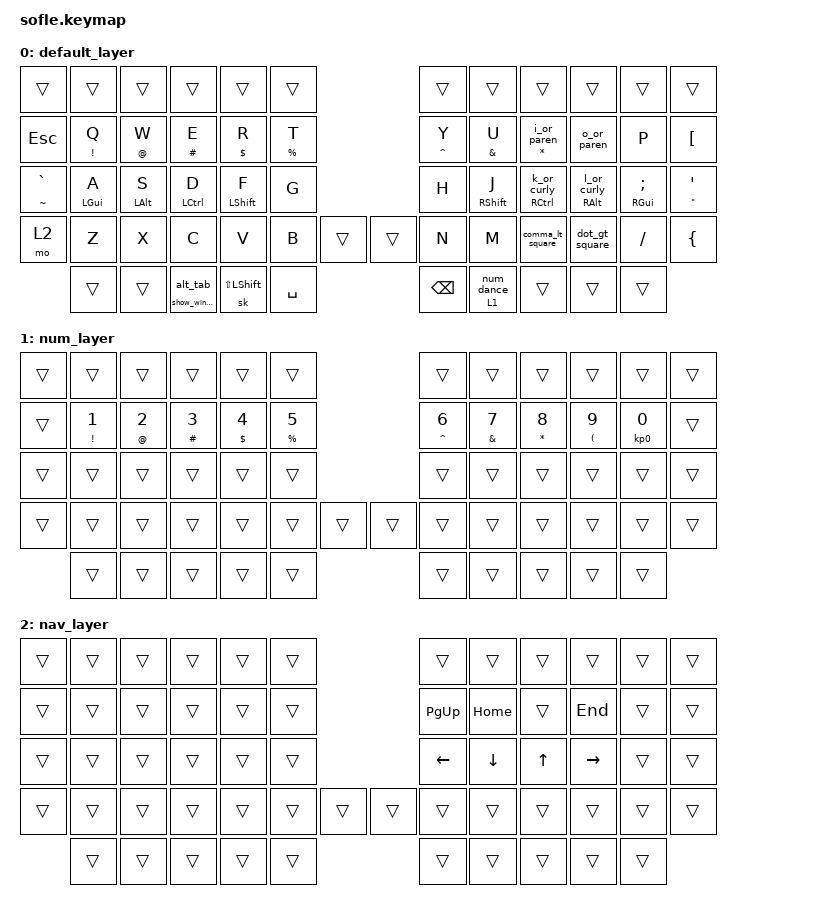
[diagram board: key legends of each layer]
#include <behaviors.dtsi>
#include <dt-bindings/zmk/keys.h>

&mt {
    require-prior-idle-ms = <350>;
    flavor = "tap-preferred";
};

/ {
    combos {
        compatible = "zmk,combos";

        combo_under {
            timeout-ms = <65>;
            bindings = <&mt UNDER KP_MINUS>;
            key-positions = <15 16>;
            require-prior-idle-ms = <300>;
        };

        compatible = "zmk,combos";

        combo_equals {
            timeout-ms = <65>;
            bindings = <&mt PLUS EQUAL>;
            key-positions = <19 20>;
            require-prior-idle-ms = <300>;
        };

        compatible = "zmk,combos";

        combo_tab {
            bindings = <&kp TAB>;
            key-positions = <39 40>;
            timeout-ms = <65>;
            require-prior-idle-ms = <300>;
        };

        combo_enter {
            bindings = <&kp RETURN>;
            key-positions = <45 46>;
            timeout-ms = <65>;
            require-prior-idle-ms = <300>;
        };

        slash_pipe {
            bindings = <&mt BACKSLASH KP_SLASH>;
            key-positions = <28 29>;
            timeout-ms = <65>;
            require-prior-idle-ms = <300>;
        };

        eng_lang {
            bindings = <&eng_lang>;
            key-positions = <>;
        };

        ru_lang {
            bindings = <&ru_lang>;
            key-positions = <>;
        };

        caps_word {
            bindings = <&caps_word>;
            key-positions = <40 41>;
        };

        switch_lang {
            bindings = <&kp LC(LEFT_SHIFT)>;
            key-positions = <28 27>;
        };

        ctrl+alt+del {
            bindings = <&kp LC(RA(DELETE))>;
            key-positions = <12 13>;
        };
    };

    behaviors {
        num_word: behavior_num_word {
            compatible = "zmk,behavior-caps-word";
            #binding-cells = <0>;
            layers = <1>;                                // insert location of numbers layer here
            continue-list = <BACKSPACE DELETE DOT COMMA LEFT_SHIFT RSHIFT EXCLAMATION AT_SIGN POUND PERCENT CARET AMPERSAND ASTERISK LEFT_PARENTHESIS RIGHT_PARENTHESIS KP_LEFT_PARENTHESIS KP_RIGHT_PARENTHESIS KP_EQUAL KP_MINUS EQUAL KP_EQUAL_AS400>;  // adjust as desired
            ignore-numbers;                                // numbers don't deactivate the layer
        };

        smart_num: smart_num {
            compatible = "zmk,behavior-hold-tap";
            #binding-cells = <2>;
            flavor = "balanced";
            tapping-term-ms = <200>;
            quick-tap-ms = <50>;
            bindings = <&mo>, <&num_dance>;
        };

        num_dance: num_dance {
            compatible = "zmk,behavior-tap-dance";
            #binding-cells = <0>;
            tapping-term-ms = <200>;
            bindings = <&num_word>, <&sl 3>;
        };

        hrm: hrm {
            compatible = "zmk,behavior-hold-tap";
            #binding-cells = <2>;
            flavor = "balanced";
            tapping-term-ms = <500>;
            quick-tap-ms = <125>;
            bindings = <&kp>, <&kp>;
        };

        hrr: hrr {
            compatible = "zmk,behavior-hold-tap";
            #binding-cells = <2>;
            flavor = "balanced";
            tapping-term-ms = <500>;
            quick-tap-ms = <125>;
            bindings = <&kp>, <&kp>;

            hold-trigger-key-positions = <0 1 5 12 13 14 15 16 17 24 25 26 27 28 29 36 37 38 39 40 41 42 50 51 52 53 54 2 3 4>;
            require-prior-idle-ms = <180>;
        };

        hrl: hrl {
            compatible = "zmk,behavior-hold-tap";
            #binding-cells = <2>;
            flavor = "balanced";
            tapping-term-ms = <500>;
            quick-tap-ms = <125>;
            bindings = <&kp>, <&kp>;

            hold-trigger-key-positions = <6 7 8 9 10 11 18 19 20 21 22 23 30 31 32 33 34 35 43 44 45 46 47 48 49 55 56 57 58 59>;
            require-prior-idle-ms = <180>;
        };

        smart_show_windows: smart_show_windows {
            compatible = "zmk,behavior-hold-tap";
            bindings = <&show_windows>, <&alt_tab>;

            #binding-cells = <2>;
            tapping-term-ms = <200>;
        };

        alt_tab: alt_tab {
            compatible = "zmk,behavior-tap-dance";
            label = "ALT_TAB";
            #binding-cells = <0>;
            bindings = <&kp LA(TAB)>;
        };

        ru_lang: ru_lang {
            compatible = "zmk,behavior-tap-dance";
            label = "RU_LANG";
            #binding-cells = <0>;
            bindings = <&kp LA(LS(N9))>;
            tapping-term-ms = <100>;
        };

        eng_lang: eng_lang {
            compatible = "zmk,behavior-tap-dance";
            label = "ENG_LANG";
            #binding-cells = <0>;
            tapping-term-ms = <100>;
            bindings = <&kp LS(LA(NUMBER_8))>;
        };

        i_or_paren: i_or_paren {
            compatible = "zmk,behavior-mod-morph";
            label = "I_OR_PAREN";
            bindings = <&kp I>, <&kp LEFT_PARENTHESIS>;

            #binding-cells = <0>;
            mods = <(MOD_LALT)>;
        };

        o_or_paren: o_or_paren {
            compatible = "zmk,behavior-mod-morph";
            label = "O_OR_PAREN";
            bindings = <&kp O>, <&kp RIGHT_PARENTHESIS>;

            #binding-cells = <0>;
            mods = <(MOD_LALT)>;
        };

        k_or_curly: k_or_curly {
            compatible = "zmk,behavior-mod-morph";
            label = "K_OR_CURLY";
            bindings = <&kp K>, <&kp LEFT_BRACE>;

            #binding-cells = <0>;
            mods = <(MOD_LALT)>;
        };

        l_or_curly: l_or_curly {
            compatible = "zmk,behavior-mod-morph";
            label = "L_OR_CURLY";
            bindings = <&kp L>, <&kp RIGHT_BRACE>;

            #binding-cells = <0>;
            mods = <(MOD_LALT)>;
        };

        comma_lt_square: comma_lt_square {
            compatible = "zmk,behavior-mod-morph";
            label = "COMMA_LT_SQUARE";
            bindings = <&kp COMMA>, <&kp LEFT_BRACKET>;

            #binding-cells = <0>;
            mods = <(MOD_LALT)>;
        };

        dot_gt_square: dot_gt_square {
            compatible = "zmk,behavior-mod-morph";
            label = "DOT_GT_SQUARE";
            bindings = <&kp DOT>, <&kp RIGHT_BRACKET>;

            #binding-cells = <0>;
            mods = <(MOD_LALT)>;
        };

        hrr_k: hrr_k {
            compatible = "zmk,behavior-hold-tap";
            #binding-cells = <2>;
            flavor = "balanced";
            tapping-term-ms = <280>;
            quick-tap-ms = <125>;
            bindings = <&kp>, <&k_or_curly>;

            hold-trigger-key-positions = <0 1 5 12 13 14 15 16 17 24 25 26 27 28 29 36 37 38 39 40 41 42 50 51 52 53 54 2 3 4>;
            require-prior-idle-ms = <350>;
            label = "HRR_K";
        };

        hrr_l: hrr_l {
            compatible = "zmk,behavior-hold-tap";
            #binding-cells = <2>;
            flavor = "balanced";
            tapping-term-ms = <280>;
            quick-tap-ms = <125>;
            bindings = <&kp>, <&l_or_curly>;

            hold-trigger-key-positions = <0 1 5 12 13 14 15 16 17 24 25 26 27 28 29 36 37 38 39 40 41 42 50 51 52 53 54 2 3 4>;
            require-prior-idle-ms = <350>;
            label = "HRR_L";
        };

        i_paren_asterisk: i_paren_asterisk {
            compatible = "zmk,behavior-hold-tap";
            label = "I_PAREN_ASTERISK";
            bindings = <&kp>, <&i_or_paren>;

            #binding-cells = <2>;
            tapping-term-ms = <200>;
        };
    };

    conditional_layers {
        compatible = "zmk,conditional-layers";

        tri_layer {
            if-layers = <2 1>;
            then-layer = <3>;
        };
    };

    macros {
        my_macro: new_macro {
            compatible = "zmk,behavior-macro";
            #binding-cells = <0>;
            bindings =
                <&macro_press>,
                <&kp Z>,
                <&macro_tap>,
                <&kp A>,
                <&macro_press>,
                <&kp Z>,
                <&macro_pause_for_release>,
                <&macro_release>,
                <&kp Z>;

            label = "NEW_MACRO";
        };

        show_windows: test_alt_tab {
            compatible = "zmk,behavior-macro";
            #binding-cells = <0>;
            bindings =
                <&macro_press>,
                <&kp LEFT_ALT &mo 2>,
                <&macro_tap>,
                <&kp TAB>,
                <&macro_pause_for_release>,
                <&macro_release>,
                <&kp LEFT_ALT &mo 2>;

            label = "TEST_ALT_TAB";
        };

        show_windows_and_stick_nav_l: show_windows_and_stick_nav_l {
            compatible = "zmk,behavior-macro";
            #binding-cells = <0>;
            bindings =
                <&macro_tap>,
                <&kp LA(TAB)>,
                <&macro_press>,
                <&kp LEFT_ALT &mo 2>,
                <&macro_pause_for_release>,
                <&macro_release>,
                <&kp LEFT_ALT &mo 2>;

            label = "SHOW_WINDOWS_AND_STICK_NAV_L";
        };
    };

    keymap {
        compatible = "zmk,keymap";

        layer_default_layer {
            label = "default_layer";
            bindings = <
&trans           &trans             &trans           &trans                   &trans             &trans                         &trans         &trans              &trans                     &trans              &trans               &trans
&kp ESCAPE       &mt EXCLAMATION Q  &mt AT_SIGN W    &mt HASH E               &mt DOLLAR R       &mt PERCENT T                  &mt CARET Y    &mt AMPERSAND U     &i_paren_asterisk ASTRK 0  &o_or_paren         &kp P                &kp LEFT_BRACKET
&mt TILDE GRAVE  &hrl LEFT_GUI A    &hrl LEFT_ALT S  &hrl LCTRL D             &hrl LEFT_SHIFT F  &kp G                          &kp H          &hrr RIGHT_SHIFT J  &hrr_k RCTRL 0             &hrr_l RIGHT_ALT 0  &hrr RIGHT_GUI SEMI  &mt DOUBLE_QUOTES APOSTROPHE
&mo 2            &kp Z              &kp X            &kp C                    &kp V              &kp B          &trans  &trans  &kp N          &kp M               &comma_lt_square           &dot_gt_square      &kp SLASH            &kp LEFT_BRACE
                 &trans             &trans           &smart_show_windows 0 0  &sk LS(LSHIFT)     &kp SPACE                      &kp BACKSPACE  &smart_num 1 0      &trans                     &trans              &trans
            >;
        };

        layer_num_layer {
            label = "num_layer";
            bindings = <
&trans  &trans                    &trans                &trans             &trans               &trans                                &trans              &trans                  &trans                 &trans                         &trans                    &trans
&trans  &mt EXCLAMATION NUMBER_1  &mt AT_SIGN NUMBER_2  &mt HASH NUMBER_3  &mt DOLLAR NUMBER_4  &mt PERCENT NUMBER_5                  &mt CARET NUMBER_6  &mt AMPERSAND NUMBER_7  &mt ASTERISK NUMBER_8  &mt LEFT_PARENTHESIS NUMBER_9  &mt KP_NUMBER_0 NUMBER_0  &trans
&trans  &trans                    &trans                &trans             &trans               &trans                                &trans              &trans                  &trans                 &trans                         &trans                    &trans
&trans  &trans                    &trans                &trans             &trans               &trans                &trans  &trans  &trans              &trans                  &trans                 &trans                         &trans                    &trans
        &trans                    &trans                &trans             &trans               &trans                                &trans              &trans                  &trans                 &trans                         &trans
            >;
        };

        layer_nav_layer {
            label = "nav_layer";
            bindings = <
&trans  &trans  &trans  &trans  &trans  &trans                  &trans     &trans    &trans  &trans     &trans  &trans
&trans  &trans  &trans  &trans  &trans  &trans                  &kp PG_UP  &kp HOME  &trans  &kp END    &trans  &trans
&trans  &trans  &trans  &trans  &trans  &trans                  &kp LEFT   &kp DOWN  &kp UP  &kp RIGHT  &trans  &trans
&trans  &trans  &trans  &trans  &trans  &trans  &trans  &trans  &trans     &trans    &trans  &trans     &trans  &trans
        &trans  &trans  &trans  &trans  &trans                  &trans     &trans    &trans  &trans     &trans
            >;
        };
    };
};
